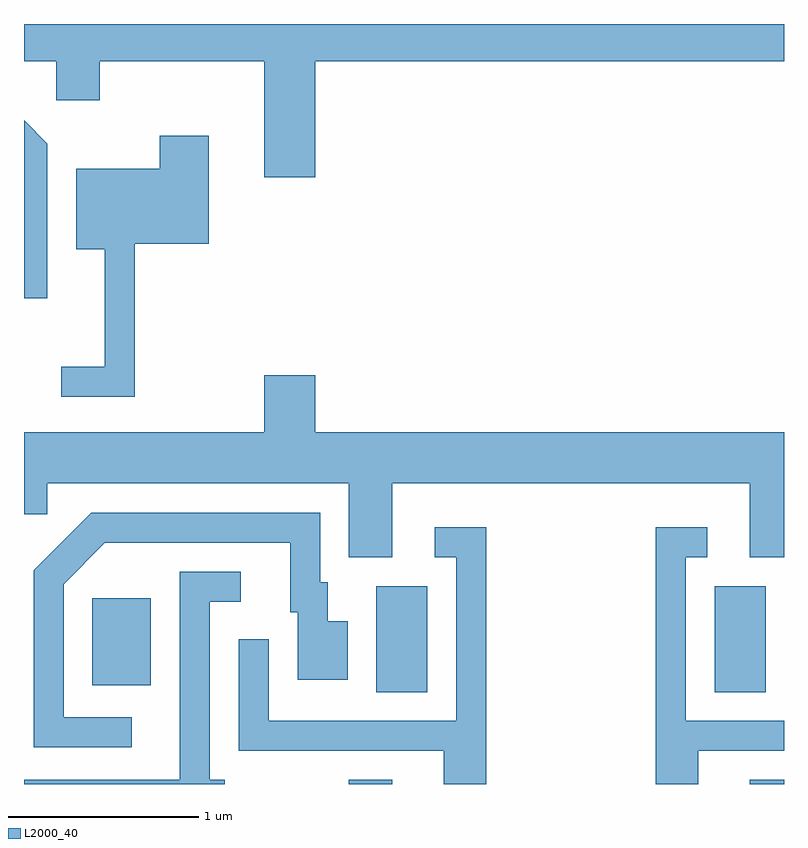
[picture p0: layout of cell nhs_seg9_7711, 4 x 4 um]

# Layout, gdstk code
import gdstk
lib = gdstk.Library(unit=1e-6, precision=1e-09)
def R(c, l, rs):  # rectangles x0, y0, x1, y1
    for r in rs: c.add(gdstk.rectangle(r[:2], r[2:], *l))
def P(c, l, *ps):  # polygons
    for p in ps: c.add(gdstk.Polygon(p, *l))
L2000_40 = (2000, 40)

nhs_seg9_7711 = lib.new_cell('nhs_seg9_7711')
R(nhs_seg9_7711, L2000_40, [(415.321,2012.432,415.549,2012.454), (417.431,2012.432,417.611,2012.454), (415.466,2012.916,415.734,2013.474), (417.246,2012.916,417.514,2013.474), (413.971,2012.951,414.279,2013.409)])
P(nhs_seg9_7711, L2000_40, [(415.144,2016.236),(417.611,2016.236),(417.611,2016.432),(413.611,2016.432),(413.611,2016.236),(413.781,2016.236),(413.781,2016.031),(414.009,2016.031),(414.009,2016.236),(414.876,2016.236),(414.876,2015.626),(415.144,2015.626)],
  [(413.734,2015.802),(413.611,2015.925),(413.611,2014.988),(413.734,2014.988)],
  [(414.194,2015.276),(414.584,2015.276),(414.584,2015.844),(414.326,2015.844),(414.326,2015.669),(413.886,2015.669),(413.886,2015.246),(414.036,2015.246),(414.036,2014.629),(413.808,2014.629),(413.808,2014.471),(414.194,2014.471)],
  [(415.549,2014.016),(417.431,2014.016),(417.431,2013.626),(417.611,2013.626),(417.611,2014.284),(415.144,2014.284),(415.144,2014.584),(414.876,2014.584),(414.876,2014.284),(413.611,2014.284),(413.611,2013.851),(413.734,2013.851),(413.734,2014.016),(415.321,2014.016),(415.321,2013.626),(415.549,2013.626)],
  [(414.178,2012.784),(413.819,2012.784),(413.819,2013.484),(414.037,2013.701),(415.011,2013.701),(415.011,2013.336),(415.051,2013.336),(415.051,2012.981),(415.314,2012.981),(415.314,2013.289),(415.209,2013.289),(415.209,2013.494),(415.169,2013.494),(415.169,2013.859),(413.964,2013.859),(413.661,2013.557),(413.661,2012.626),(414.178,2012.626)],
  [(416.044,2013.784),(415.773,2013.784),(415.773,2013.626),(415.886,2013.626),(415.886,2012.764),(414.899,2012.764),(414.899,2013.193),(414.741,2013.193),(414.741,2012.606),(415.821,2012.606),(415.821,2012.432),(416.044,2012.432)],
  [(417.159,2012.606),(417.611,2012.606),(417.611,2012.764),(417.094,2012.764),(417.094,2013.626),(417.208,2013.626),(417.208,2013.784),(416.936,2013.784),(416.936,2012.432),(417.159,2012.432)],
  [(414.668,2012.454),(414.589,2012.454),(414.589,2013.391),(414.753,2013.391),(414.753,2013.549),(414.431,2013.549),(414.431,2012.454),(413.611,2012.454),(413.611,2012.432),(414.668,2012.432)])

lib.write_gds('nhs_seg9_7711.gds')
